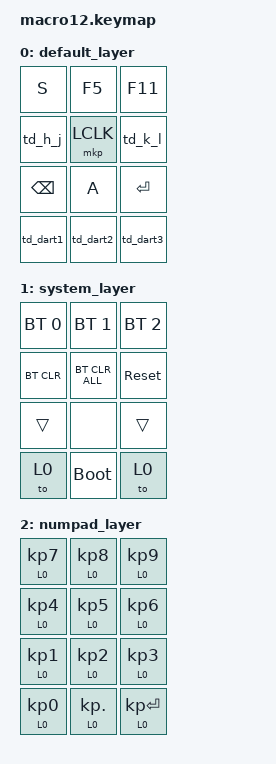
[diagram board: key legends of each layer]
#include <behaviors.dtsi>
#include <dt-bindings/zmk/keys.h>
#include <dt-bindings/zmk/bt.h>
#include <dt-bindings/zmk/mouse.h>

// --- Globales Setup für den Sticky-Layer (5 Sekunden Timeout für Admin-Layer) ---
&sl {
    release-after-ms = <5000>;
};

/ {
    macros {
        // --- Makro für das Numpad (Taste senden -> kurz warten -> Linksklick -> Auto-Zurück zu Layer 0) ---
        mac_num: mac_num {
            compatible = "zmk,behavior-macro-one-param";
            #binding-cells = <1>;
            wait-ms = <200>; // NEU: 200 Millisekunden Pause zwischen den Aktionen
            bindings = <&macro_param_1to1>, <&kp MACRO_PLACEHOLDER>, <&mkp LCLK>, <&to 0>;
        };

        // --- Makros für die Darts-Korrektur (1x Klicken) ---
        mac_corr_1: mac_corr_1 {
            compatible = "zmk,behavior-macro";
            #binding-cells = <0>;
            bindings = <&kp KP_DIVIDE>, <&to 2>;
        };

        mac_corr_2: mac_corr_2 {
            compatible = "zmk,behavior-macro";
            #binding-cells = <0>;
            bindings = <&kp KP_MULTIPLY>, <&to 2>;
        };

        mac_corr_3: mac_corr_3 {
            compatible = "zmk,behavior-macro";
            #binding-cells = <0>;
            bindings = <&kp KP_MINUS>, <&to 2>;
        };
    };

    behaviors {
        // --- Hold-Tap Funktion als "Notausgang" für das Numpad ---
        ht_exit: hold_tap_exit {
            compatible = "zmk,behavior-hold-tap";
            label = "HT_EXIT";
            #binding-cells = <2>;
            flavor = "tap-preferred"; 
            tapping-term-ms = <1000>; // Exakt 1000ms (1 Sekunde) gedrückt halten zum Abbrechen
            bindings = <&to>, <&mac_num>;
        };

        // --- Layer Switcher (System-Layer für 5s aktivieren per Doppelklick Combo) ---
        td_layer_tog: tap_dance_layer_tog {
            compatible = "zmk,behavior-tap-dance";
            label = "TD_LAYER_TOG";
            #binding-cells = <0>;
            tapping-term-ms = <400>; 
            bindings = <&none>, <&sl 1>;  
        };
        
        // --- Mittlere Reihe Layer 0 (Chat Makros H/J und K/L) ---
        td_h_j: tap_dance_h_j {
            compatible = "zmk,behavior-tap-dance";
            label = "TD_H_J";
            #binding-cells = <0>;
            tapping-term-ms = <400>; 
            bindings = <&kp H>, <&kp J>;
        };

        td_k_l: tap_dance_k_l {
            compatible = "zmk,behavior-tap-dance";
            label = "TD_K_L";
            #binding-cells = <0>;
            tapping-term-ms = <400>; 
            bindings = <&kp K>, <&kp L>;
        };

        // --- Untere Reihe Layer 0 (Korrektur ODER Kamera-Wechsel) ---
        td_dart1: tap_dance_dart1 {
            compatible = "zmk,behavior-tap-dance";
            label = "TD_DART1";
            #binding-cells = <0>;
            tapping-term-ms = <400>; 
            bindings = <&mac_corr_1>, <&kp N1>; 
        };

        td_dart2: tap_dance_dart2 {
            compatible = "zmk,behavior-tap-dance";
            label = "TD_DART2";
            #binding-cells = <0>;
            tapping-term-ms = <400>; 
            bindings = <&mac_corr_2>, <&kp N2>; 
        };

        td_dart3: tap_dance_dart3 {
            compatible = "zmk,behavior-tap-dance";
            label = "TD_DART3";
            #binding-cells = <0>;
            tapping-term-ms = <400>; 
            bindings = <&mac_corr_3>, <&kp N3>; 
        };
    };

    combos {
        compatible = "zmk,combos";
        
        // Combo: Backspace (6) + Enter (8) gleichzeitig 
        // Löst den Tap-Dance aus (bei Doppelklick -> Admin Layer für 5s)
        combo_sys_layer {
            timeout-ms = <100>;
            key-positions = <6 8>;
            bindings = <&td_layer_tog>;
        };
    };

    keymap {
        compatible = "zmk,keymap";

        // -----------------------------------------------------------------
        // LAYER 0: Dein Autodarts-Layout (Standard)
        // -----------------------------------------------------------------
        default_layer {
            bindings = <
                &kp S          &kp F5          &kp F11     // Reihe 1: Shortcuts
                &td_h_j        &mkp LCLK       &td_k_l     // Reihe 2: H/J, Maus, K/L
                &kp BSPC       &kp A           &kp ENTER   // Reihe 3: Backspace, A, Enter
                &td_dart1      &td_dart2       &td_dart3   // Reihe 4: 1x Tippen = Korrektur-Modus, 2x Tippen = Kamera 1-3
            >;
        };

        // -----------------------------------------------------------------
        // LAYER 1: System & Bluetooth (aktiviert durch Combo Doppelklick)
        // -----------------------------------------------------------------
        system_layer {
            bindings = <
                &bt BT_SEL 0   &bt BT_SEL 1    &bt BT_SEL 2   // Reihe 1: Profile 1, 2, 3
                &bt BT_CLR     &bt BT_CLR_ALL  &sys_reset     // Reihe 2: Profil löschen, Alle löschen, Neustart
                &trans         &none           &trans         // Reihe 3: (Combo bleibt transparent), Leer, (Combo)
                &to 0          &bootloader     &to 0          // Reihe 4: Zurück zu Layer 0, Flash-Modus, Zurück zu Layer 0
            >;
        };

        // -----------------------------------------------------------------
        // LAYER 2: Reines Numpad für Korrektur (Handy-Layout)
        // Normal tippen = Eingabe + Zurück. 1s Halten = Abbruch (ohne Eingabe zurück)!
        // HIER NEU: Echte Numpad-Codes (KP_N1 etc.)
        // -----------------------------------------------------------------
        numpad_layer {
            bindings = <
                &ht_exit 0 KP_N7    &ht_exit 0 KP_N8     &ht_exit 0 KP_N9       // Reihe 1: 1, 2, 3 (Ganz oben)
                &ht_exit 0 KP_N4    &ht_exit 0 KP_N5     &ht_exit 0 KP_N6       // Reihe 2: 4, 5, 6
                &ht_exit 0 KP_N1    &ht_exit 0 KP_N2     &ht_exit 0 KP_N3       // Reihe 3: 7, 8, 9
                &ht_exit 0 KP_N0    &ht_exit 0 KP_DOT    &ht_exit 0 KP_ENTER    // Reihe 4: 0 (Miss), Punkt (25), Enter (Bull)
            >;
        };
    };
};
